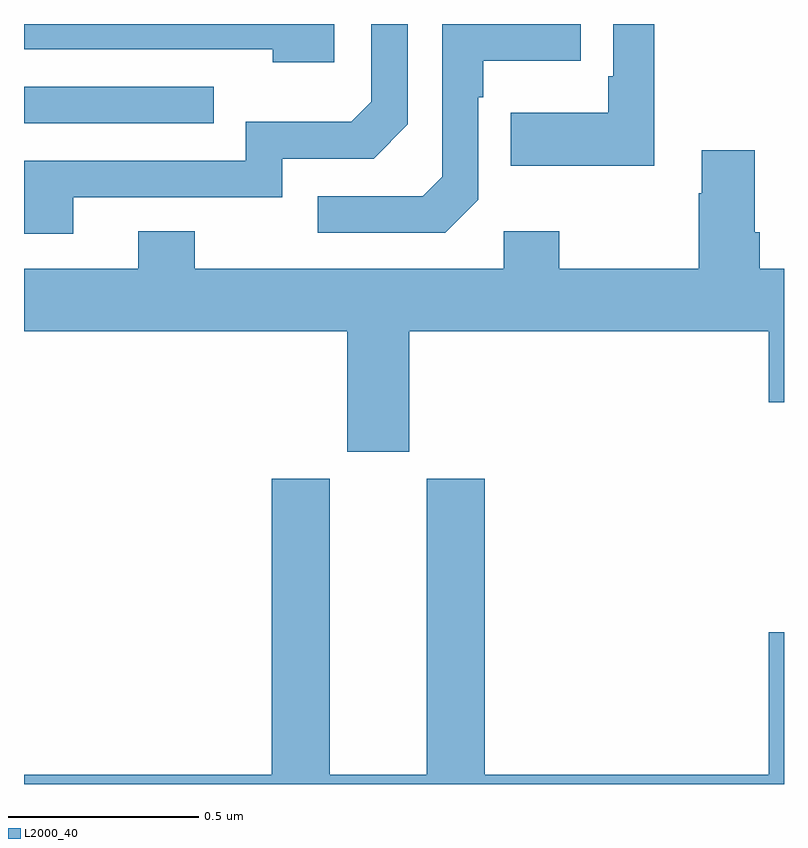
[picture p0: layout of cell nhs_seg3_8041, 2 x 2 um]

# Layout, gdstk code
import gdstk
lib = gdstk.Library(unit=1e-6, precision=1e-09)
def R(c, l, rs):  # rectangles x0, y0, x1, y1
    for r in rs: c.add(gdstk.rectangle(r[:2], r[2:], *l))
def P(c, l, *ps):  # polygons
    for p in ps: c.add(gdstk.Polygon(p, *l))
L2000_40 = (2000, 40)

nhs_seg3_8041 = lib.new_cell('nhs_seg3_8041')
R(nhs_seg3_8041, L2000_40, [(211,692.139,211.499,692.235)])
P(nhs_seg3_8041, L2000_40, [(212.659,692.4),(212.55,692.4),(212.55,692.263),(212.538,692.263),(212.538,692.167),(212.281,692.167),(212.281,692.027),(212.659,692.027)],
  [(211.816,692.4),(211,692.4),(211,692.334),(211.655,692.334),(211.655,692.3),(211.816,692.3)],
  [(211.129,691.944),(211.68,691.944),(211.68,692.046),(211.92,692.046),(212.01,692.136),(212.01,692.4),(211.914,692.4),(211.914,692.196),(211.861,692.143),(211.584,692.143),(211.584,692.04),(211,692.04),(211,691.848),(211.129,691.848)],
  [(212.196,691.938),(212.196,692.207),(212.209,692.207),(212.209,692.303),(212.465,692.303),(212.465,692.4),(212.1,692.4),(212.1,691.998),(212.049,691.947),(211.773,691.947),(211.773,691.851),(212.109,691.851)],
  [(212.014,691.592),(212.96,691.592),(212.96,691.404),(213,691.404),(213,691.756),(212.936,691.756),(212.936,691.852),(212.923,691.852),(212.923,692.068),(212.783,692.068),(212.783,691.955),(212.776,691.955),(212.776,691.756),(212.409,691.756),(212.409,691.855),(212.262,691.855),(212.262,691.756),(211.449,691.756),(211.449,691.855),(211.301,691.855),(211.301,691.756),(211,691.756),(211,691.592),(211.85,691.592),(211.85,691.275),(212.014,691.275)],
  [(213,690.799),(212.96,690.799),(212.96,690.424),(212.213,690.424),(212.213,691.203),(212.06,691.203),(212.06,690.424),(211.804,690.424),(211.804,691.203),(211.652,691.203),(211.652,690.424),(211,690.424),(211,690.4),(213,690.4)])

lib.write_gds('nhs_seg3_8041.gds')
